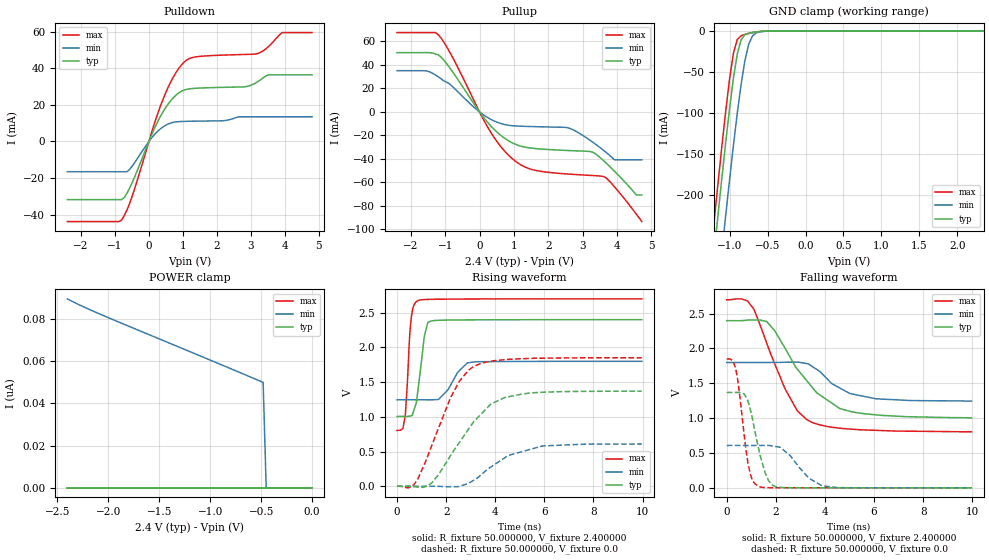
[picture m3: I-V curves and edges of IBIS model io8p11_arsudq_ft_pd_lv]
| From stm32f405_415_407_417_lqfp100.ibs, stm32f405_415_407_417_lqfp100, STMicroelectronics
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|   Model io8p11_arsudq_ft_pd_lv
[Model]  io8p11_arsudq_ft_pd_lv
Model_type I/O
Polarity   Non-Inverting
Enable   Active-Low
Vinl =   0.720000V
Vinh =   1.680000V
Vmeas =  1.200000V
Cref =   30.000000pF
Rref =   100.000000M
Vref =   0.0V
C_comp   2.239000pF   2.178700pF   2.334000pF
[Temperature Range]   25.000000   0.125000k   -40.000000
[Pullup Reference]   2.400000V   1.800000V   2.700000V
[Pulldown Reference]   0.0V   0.0V   0.0V
[POWER Clamp Reference]   2.400000V   1.800000V   2.700000V
[GND Clamp Reference]   0.0V   0.0V   0.0V
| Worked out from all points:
|   slope of the pulldown table from 0 to 0.36 V, typ, clamps not added: 25 ohm
|   slope of the pullup table from 0 to 0.36 V, typ, clamps not added: 27.7 ohm
|   GND clamp passes 1 mA (typ) near -0.62 V on its own axis
|   rising waveform, R_fixture 50.000000, V_fixture 2.400000: 20-80 % time 281ps typ, 624ps min, 184ps max; typ from 1 V to 2.4 V
|   rising waveform, R_fixture 50.000000, V_fixture 0.0: 20-80 % time 1.7ns typ, 1.69ns min, 1.31ns max; typ from 0 V to 1.37 V
|   falling waveform, R_fixture 50.000000, V_fixture 2.400000: 20-80 % time 1.82ns typ, 1.29ns min, 1.37ns max; typ from 2.4 V to 1 V
|   falling waveform, R_fixture 50.000000, V_fixture 0.0: 20-80 % time 534ps typ, 923ps min, 383ps max; typ from 1.37 V to 0 V
[Pulldown]
|Voltage   I(typ)   I(min)   I(max)
-2.4V     -31.73mA   -16.51mA   -43.74mA
-800mV    -31.73mA   -16.51mA   -42.87mA
-480mV    -21.98mA   -13.17mA   -29.2mA
80mV      3.63mA     1.966mA    5.014mA
480mV     18.15mA    8.738mA    26.02mA
800mV     25.38mA    10.72mA    37.77mA
1.12V     28.53mA    11.02mA    44.6mA
2.8V      29.84mA    13.49mA    47.53mA
3.2V      32.65mA    13.49mA    48.04mA
3.52V     36.42mA    13.49mA    51.83mA
3.92V     36.42mA    13.49mA    59.49mA
4.8V      36.42mA    13.49mA    59.49mA
[Pullup]
|Voltage   I(typ)   I(min)   I(max)
-2.4V     50.45mA    35.08mA    67.53mA
-1.52V    50.45mA    34.74mA    67.53mA
-1.2V     48.64mA    29.87mA    65.68mA
320mV     -11.75mA   -6.207mA   -17.08mA
1.04V     -27.54mA   -11.97mA   -41.91mA
1.6V      -31.13mA   -12.58mA   -49.63mA
2.56V     -32.88mA   -13.48mA   -52.9mA
3.28V     -34.19mA   -25.52mA   -54.18mA
3.6V      -41.31mA   -32.62mA   -54.97mA
3.92V     -50.33mA   -40.8mA    -63.63mA
4.56V     -70.8mA    -40.8mA    -87.08mA
4.72V     -70.8mA    -40.8mA    -93.4mA
[GND_clamp]
|Voltage   I(typ)   I(min)   I(max)
-2.4V     -1.423A    -1.508A    -1.392A
-1.25V    -311.2mA   -401.9mA   -273.3mA
-1.2V     -265.4mA   -356.1mA   -227.2mA
-1.15V    -220.4mA   -310.8mA   -181.9mA
-1.1V     -176.3mA   -266.2mA   -137.9mA
-1.05V    -133.8mA   -222.5mA   -95.87mA
-950mV    -57.3mA    -138.9mA   -26.99mA
-900mV    -28.28mA   -100.4mA   -10.6mA
-850mV    -11.02mA   -65.54mA   -5.972mA
-750mV    -2.846mA   -16.51mA   -3.192mA
-600mV    -761.3uA   -1.173mA   -751.9uA
2.35V     58.09uA    37.92uA    67.25uA
[POWER_clamp]
|Voltage   I(typ)   I(min)   I(max)
-2.4V     0A         89.62nA    0A
-2.04V    0A         81.57nA    0A
-480mV    0A         50.01nA    0A
-450mV    0A         0A         0A
0V        0A         0A         0A
[Ramp]
| variable   typ   min   max
dV/dt_r  0.82122/1.69388n   0.36366/1.67597n   1.11054/1.31039n
dV/dt_f  0.83250/1.81242n   0.33312/1.29605n   1.13548/1.37387n
R_load = 50.000000
[Rising Waveform]
R_fixture= 50.000000
V_fixture= 2.400000
V_fixture_min= 1.800000
V_fixture_max= 2.700000
|time   V(typ)   V(min)   V(max)
0s        1.005V     1.245V     804.2mV
240.2ps   1.005V     1.245V     831.6mV
340.3ps   1.005V     1.246V     1.037V
500.5ps   1.009V     1.246V     2.079V
580.6ps   1.014V     1.246V     2.426V
840.8ps   1.351V     1.246V     2.67V
1.121ns   2.175V     1.245V     2.689V
1.361ns   2.376V     1.244V     2.692V
2.883ns   2.396V     1.778V     2.696V
9.97ns    2.399V     1.799V     2.698V
[Rising Waveform]
R_fixture= 50.000000
V_fixture= 0.0
V_fixture_min= 0.0
V_fixture_max= 0.0
|time   V(typ)   V(min)   V(max)
0s        169.6uV    66.3uV     557.2uV
680.7ps   -5.47mV    52.08uV    19.58mV
1.421ns   50.65mV    101.3uV    592mV
2.202ns   453.5mV    -7.019mV   1.29V
2.543ns   632.3mV    -991.2uV   1.514V
3.143ns   936.1mV    90.71mV    1.729V
3.824ns   1.184V     278.2mV    1.8V
4.384ns   1.277V     409.2mV    1.823V
5.926ns   1.354V     580.1mV    1.845V
9.97ns    1.369V     608.3mV    1.851V
[Falling Waveform]
R_fixture= 50.000000
V_fixture= 2.400000
V_fixture_min= 1.800000
V_fixture_max= 2.700000
|time   V(typ)   V(min)   V(max)
0s        2.399V     1.799V     2.698V
640.6ps   2.401V     1.799V     2.707V
1.101ns   2.409V     1.799V     2.565V
1.622ns   2.389V     1.799V     2.084V
2.382ns   1.999V     1.802V     1.416V
2.883ns   1.7V       1.804V     1.103V
3.263ns   1.536V     1.784V     978.8mV
3.664ns   1.365V     1.7V       916.8mV
5.045ns   1.096V     1.352V     843.2mV
9.97ns    1.005V     1.245V     804.2mV
[Falling Waveform]
R_fixture= 50.000000
V_fixture= 0.0
V_fixture_min= 0.0
V_fixture_max= 0.0
|time   V(typ)   V(min)   V(max)
0s        1.369V     608.3mV    1.851V
360.4ps   1.369V     608.4mV    1.718V
460.5ps   1.369V     608.3mV    1.522V
720.7ps   1.344V     608.3mV    727.1mV
961ps     1.123V     608.1mV    197.9mV
1.281ns   592.8mV    608mV      24.56mV
1.702ns   105.7mV    609.1mV    2.928mV
2.062ns   11.63mV    589.3mV    1.947mV
3.884ns   915.3uV    29.24mV    1.072mV
9.97ns    169.6uV    66.3uV     557.2uV
